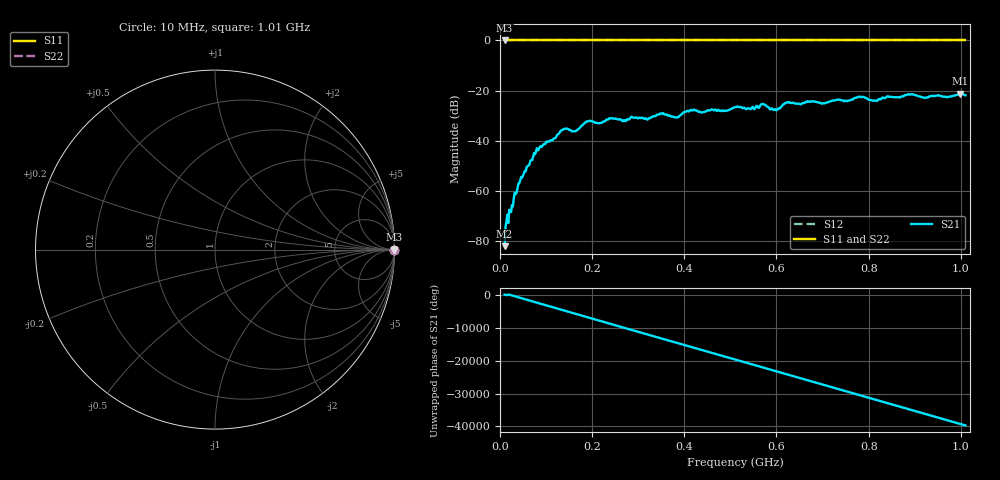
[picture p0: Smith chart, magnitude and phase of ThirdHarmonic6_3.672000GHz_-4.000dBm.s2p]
! 8/17/2025 12:24:43 PM
! C:\ANRITSUVNA\TEMP\TEMP.S2P
! CHANNEL.1
! TR.MEASUREMENT
! RAW.DATA
! RF.CORRECTION.OFF
! AVERAGING.OFF
! IF.BANDWIDTH: 5KHZ
! SWEEPTYPE:  FREQ.SWEEP(Linear)
! Reference Plane Port Info
! PORT:  PORT1  PORT2
! DISTANCE:  0  m  0  m
! TIME:  0  s  0  s
! PHASE.OFFSET:  0  deg.  0  deg.
! LOSS:  0  dB  0  dB
! REF.LOSS:  0  dB  0  dB
! REF.FREQ:  0  Hz  0  Hz
! Power Info
! POWER:  -20  dBm  -20  dBm
! EFF.POWER:  -20  dBm  -20  dBm
! SOURCE.ATTEN:  0  dB  0  dB
! TEST.ATTEN:  0  dB  0  dB
# GHZ S RI R 50.0
! FREQ.GHZ  S11RE  S11IM  S21RE  S21IM  S12RE  S12IM  S22RE  S22IM
!; PortSelection: Port_12
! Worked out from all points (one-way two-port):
!   501 points, 10 MHz to 1.01 GHz, reference 50 ohm
!   highest |S21| = -21.19 dB at 998 MHz (marker M1); lowest = -82.0 dB at 10 MHz (marker M2)
!   lowest |S11| = 0.0 dB at 10 MHz (marker M3)
!   |S11| at or under -10 dB: nowhere
!   |S22| runs from 0.0 to 0.0 dB; largest |S21 - S12| = 1.1
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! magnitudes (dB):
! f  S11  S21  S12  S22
! 10 MHz  0.0  -82.0  0.0  0.0
! 18 MHz  0.0  -72.8  0.0  0.0
! 42 MHz  0.0  -56.9  0.0  0.0
! 76 MHz  0.0  -45.3  0.0  0.0
! 136 MHz  0.0  -35.7  0.0  0.0
! 162 MHz  0.0  -36.1  0.0  0.0
! 178 MHz  0.0  -33.9  0.0  0.0
! 192 MHz  0.0  -32.1  0.0  0.0
! 318 MHz  0.0  -31.2  0.0  0.0
! 344 MHz  0.0  -29.5  0.0  0.0
! 384 MHz  0.0  -30.6  0.0  0.0
! 416 MHz  0.0  -27.9  0.0  0.0
! 510 MHz  0.0  -26.6  0.0  0.0
! 572 MHz  0.0  -25.4  0.0  0.0
! 598 MHz  0.0  -27.4  0.0  0.0
! 624 MHz  0.0  -24.6  0.0  0.0
! 678 MHz  0.0  -24.2  0.0  0.0
! 782 MHz  0.0  -22.4  0.0  0.0
! 814 MHz  0.0  -23.9  0.0  0.0
! 844 MHz  0.0  -22.5  0.0  0.0
! 998 MHz  0.0  -21.2  0.0  0.0
! 1.01 GHz  0.0  -21.8  0.0  0.0
